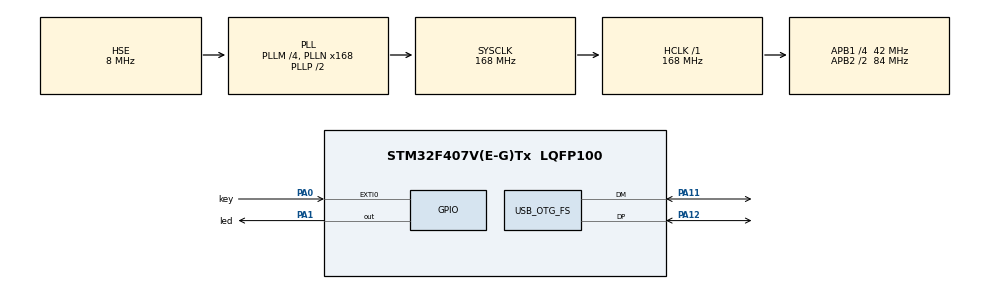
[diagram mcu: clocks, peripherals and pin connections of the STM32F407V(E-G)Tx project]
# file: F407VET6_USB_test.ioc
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Mcu.Family=STM32F4
Mcu.Name=STM32F407V(E-G)Tx
Mcu.Package=LQFP100
NVIC.EXTI0_IRQn=true\:4\:0\:true\:false\:true\:true\:true\:true
NVIC.OTG_FS_IRQn=true\:0\:0\:false\:false\:true\:true\:true\:true
NVIC.PriorityGroup=NVIC_PRIORITYGROUP_4
PA0-WKUP.GPIO_Label=key
PA0-WKUP.GPIO_ModeDefaultEXTI=GPIO_MODE_IT_RISING
PA0-WKUP.GPIO_PuPd=GPIO_PULLDOWN
PA0-WKUP.Signal=GPXTI0
PA1.GPIO_Label=led
PA1.Signal=GPIO_Output
PA11.Mode=Device_Only
PA11.Signal=USB_OTG_FS_DM
PA12.Mode=Device_Only
PA12.Signal=USB_OTG_FS_DP
PA13.Mode=Serial_Wire
PA13.Signal=SYS_JTMS-SWDIO
PA14.Mode=Serial_Wire
PA14.Signal=SYS_JTCK-SWCLK
PH0-OSC_IN.Mode=HSE-External-Oscillator
PH0-OSC_IN.Signal=RCC_OSC_IN
PH1-OSC_OUT.Mode=HSE-External-Oscillator
PH1-OSC_OUT.Signal=RCC_OSC_OUT
ProjectManager.HeapSize=0xF000
ProjectManager.StackSize=0xF00
ProjectManager.TargetToolchain=MDK-ARM V5.27
RCC.48MHZClocksFreq_Value=48000000
RCC.AHBFreq_Value=168000000
RCC.APB1CLKDivider=RCC_HCLK_DIV4
RCC.APB1Freq_Value=42000000
RCC.APB1TimFreq_Value=84000000
RCC.APB2CLKDivider=RCC_HCLK_DIV2
RCC.APB2Freq_Value=84000000
RCC.APB2TimFreq_Value=168000000
RCC.CortexFreq_Value=168000000
RCC.HCLKFreq_Value=168000000
RCC.HSE_VALUE=8000000
RCC.HSI_VALUE=16000000
RCC.LSE_VALUE=32768
RCC.PLLM=4
RCC.PLLN=168
RCC.PLLQ=7
RCC.SYSCLKFreq_VALUE=168000000
RCC.SYSCLKSource=RCC_SYSCLKSOURCE_PLLCLK
RCC.VCOOutputFreq_Value=336000000
USB_DEVICE.CLASS_NAME_FS=CDC
USB_DEVICE.USBD_SELF_POWERED-CDC_FS=1
USB_DEVICE.VirtualMode-CDC_FS=Cdc
USB_DEVICE.VirtualModeFS=Cdc_FS
USB_OTG_FS.VirtualMode=Device_Only
VP_USB_DEVICE_VS_USB_DEVICE_CDC_FS.Mode=CDC_FS
board=custom

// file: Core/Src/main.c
/* USER CODE BEGIN Header */
/**
  ******************************************************************************
  * @file           : main.c
  * @brief          : Main program body
  ******************************************************************************
  * @attention
  *
  * <h2><center>&copy; Copyright (c) 2023 STMicroelectronics.
  * All rights reserved.</center></h2>
  *
  * This software component is licensed by ST under BSD 3-Clause license,
  * the "License"; You may not use this file except in compliance with the
  * License. You may obtain a copy of the License at:
  *                        opensource.org/licenses/BSD-3-Clause
  *
  ******************************************************************************
  */
/* USER CODE END Header */
#include "main.h"
#include "usb_device.h"
#include "gpio.h"

/* USER CODE BEGIN Includes */
#include "usbd_cdc_if.h"
#include "usb_user.h"
#include <string.h>
/* USER CODE END Includes */

/* USER CODE BEGIN PV */

extern uint8_t Rx_status;

/* USER CODE END PV */

void SystemClock_Config(void);

int main(void)
{
  /* USER CODE BEGIN 1 */
    uint8_t Rx_Buffer[32];
    uint8_t Tx_Buffer[32]="��������\n";
  /* USER CODE END 1 */

  /* MCU Configuration--------------------------------------------------------*/

  /* Reset of all peripherals, Initializes the Flash interface and the Systick. */
  HAL_Init();

  /* Configure the system clock */
  SystemClock_Config();

  /* Initialize all configured peripherals */
  MX_GPIO_Init();
  MX_USB_DEVICE_Init();
  /* USER CODE BEGIN 2 */
    usb_vbc_Receive_It(Rx_Buffer,16);
  /* USER CODE END 2 */

  /* Infinite loop */
  while (1)
  {

    /* USER CODE BEGIN 3 */
      led_GPIO_Port->ODR^=led_Pin;
//      time=HAL_GetTick();
//      CDC_Transmit_FS((uint8_t*)str, strlen(str));
//      if(usb_vbc_Receive(Rx_Buffer,16,500)==0)
//          usb_printf("��ʱ:%d\n",HAL_GetTick()-time);
//      else
//          CDC_Transmit_FS((uint8_t*)Rx_Buffer, 16);
      if(Rx_status==1)
      {
          CDC_Transmit_FS(Rx_Buffer, 16);
          usb_vbc_Receive_It(Rx_Buffer,16);
      }
//      CDC_Transmit_FS(Tx_Buffer,strlen((char*)Tx_Buffer));
      HAL_Delay(100);
  }
  /* USER CODE END 3 */
}

void SystemClock_Config(void)
{
  RCC_OscInitTypeDef RCC_OscInitStruct = {0};
  RCC_ClkInitTypeDef RCC_ClkInitStruct = {0};

  /** Configure the main internal regulator output voltage
  */
  __HAL_RCC_PWR_CLK_ENABLE();
  __HAL_PWR_VOLTAGESCALING_CONFIG(PWR_REGULATOR_VOLTAGE_SCALE1);
  /** Initializes the RCC Oscillators according to the specified parameters
  * in the RCC_OscInitTypeDef structure.
  */
  RCC_OscInitStruct.OscillatorType = RCC_OSCILLATORTYPE_HSE;
  RCC_OscInitStruct.HSEState = RCC_HSE_ON;
  RCC_OscInitStruct.PLL.PLLState = RCC_PLL_ON;
  RCC_OscInitStruct.PLL.PLLSource = RCC_PLLSOURCE_HSE;
  RCC_OscInitStruct.PLL.PLLM = 4;
  RCC_OscInitStruct.PLL.PLLN = 168;
  RCC_OscInitStruct.PLL.PLLP = RCC_PLLP_DIV2;
  RCC_OscInitStruct.PLL.PLLQ = 7;
  if (HAL_RCC_OscConfig(&RCC_OscInitStruct) != HAL_OK)
  {
    Error_Handler();
  }
  /** Initializes the CPU, AHB and APB buses clocks
  */
  RCC_ClkInitStruct.ClockType = RCC_CLOCKTYPE_HCLK|RCC_CLOCKTYPE_SYSCLK
                              |RCC_CLOCKTYPE_PCLK1|RCC_CLOCKTYPE_PCLK2;
  RCC_ClkInitStruct.SYSCLKSource = RCC_SYSCLKSOURCE_PLLCLK;
  RCC_ClkInitStruct.AHBCLKDivider = RCC_SYSCLK_DIV1;
  RCC_ClkInitStruct.APB1CLKDivider = RCC_HCLK_DIV4;
  RCC_ClkInitStruct.APB2CLKDivider = RCC_HCLK_DIV2;

  if (HAL_RCC_ClockConfig(&RCC_ClkInitStruct, FLASH_LATENCY_5) != HAL_OK)
  {
    Error_Handler();
  }
}

/* USER CODE BEGIN 4 */
void HAL_GPIO_EXTI_Callback(uint16_t GPIO_Pin)
{
  if(GPIO_Pin==key_Pin)
  {
      if((GPIOA->IDR&GPIO_Pin)==1)
      {

      }
  }
}
/* USER CODE END 4 */

void Error_Handler(void)
{
  __disable_irq();
  while (1)
  {
  }
}

/************************ (C) COPYRIGHT STMicroelectronics *****END OF FILE****/
